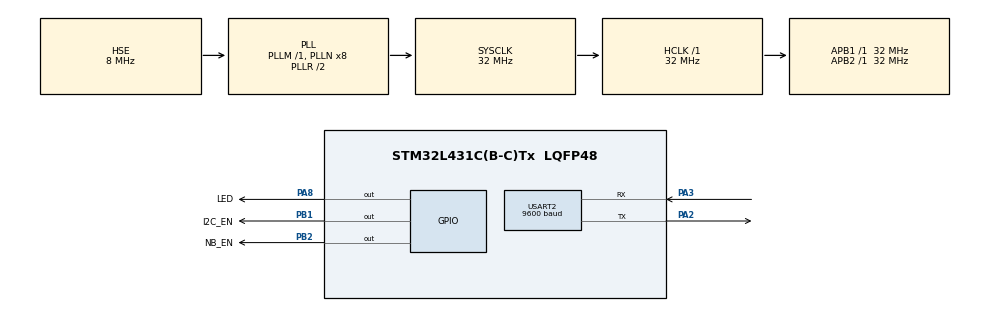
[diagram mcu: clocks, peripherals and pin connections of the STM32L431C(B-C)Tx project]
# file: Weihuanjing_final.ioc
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Dma.Request0=USART2_RX
Dma.Request1=USART2_TX
Dma.USART2_RX.0.Direction=DMA_PERIPH_TO_MEMORY
Dma.USART2_RX.0.Instance=DMA1_Channel6
Dma.USART2_RX.0.MemDataAlignment=DMA_MDATAALIGN_BYTE
Dma.USART2_RX.0.MemInc=DMA_MINC_ENABLE
Dma.USART2_RX.0.Mode=DMA_NORMAL
Dma.USART2_RX.0.PeriphDataAlignment=DMA_PDATAALIGN_BYTE
Dma.USART2_RX.0.PeriphInc=DMA_PINC_DISABLE
Dma.USART2_RX.0.Priority=DMA_PRIORITY_HIGH
Dma.USART2_TX.1.Direction=DMA_MEMORY_TO_PERIPH
Dma.USART2_TX.1.Instance=DMA1_Channel7
Dma.USART2_TX.1.MemDataAlignment=DMA_MDATAALIGN_BYTE
Dma.USART2_TX.1.MemInc=DMA_MINC_ENABLE
Dma.USART2_TX.1.Mode=DMA_NORMAL
Dma.USART2_TX.1.PeriphDataAlignment=DMA_PDATAALIGN_BYTE
Dma.USART2_TX.1.PeriphInc=DMA_PINC_DISABLE
Dma.USART2_TX.1.Priority=DMA_PRIORITY_LOW
Mcu.Family=STM32L4
Mcu.Name=STM32L431C(B-C)Tx
Mcu.Package=LQFP48
NVIC.DMA1_Channel6_IRQn=true\:0\:0\:true\:false\:true\:false\:true\:true
NVIC.DMA1_Channel7_IRQn=true\:0\:0\:true\:false\:true\:false\:true\:true
NVIC.PriorityGroup=NVIC_PRIORITYGROUP_4
NVIC.RCC_IRQn=true\:0\:0\:false\:false\:true\:true\:false\:true
NVIC.RTC_Alarm_IRQn=true\:0\:0\:false\:false\:true\:true\:true\:true
NVIC.USART2_IRQn=true\:0\:0\:true\:false\:true\:true\:true\:true
PA0.Mode=SYS_WakeUp0
PA0.Signal=SYS_WKUP1
PA13\ (JTMS-SWDIO).Mode=Serial_Wire
PA13\ (JTMS-SWDIO).Signal=SYS_JTMS-SWDIO
PA14\ (JTCK-SWCLK).Mode=Serial_Wire
PA14\ (JTCK-SWCLK).Signal=SYS_JTCK-SWCLK
PA2.Mode=Asynchronous
PA2.Signal=USART2_TX
PA3.Mode=Asynchronous
PA3.Signal=USART2_RX
PA8.GPIO_Label=LED
PA8.Signal=GPIO_Output
PB1.GPIO_Label=I2C_EN
PB1.Signal=GPIO_Output
PB2.GPIO_Label=NB_EN
PB2.Signal=GPIO_Output
PC14-OSC32_IN\ (PC14).Mode=LSE-External-Oscillator
PC14-OSC32_IN\ (PC14).Signal=RCC_OSC32_IN
PC15-OSC32_OUT\ (PC15).Mode=LSE-External-Oscillator
PC15-OSC32_OUT\ (PC15).Signal=RCC_OSC32_OUT
PH0-OSC_IN\ (PH0).Mode=HSE-External-Oscillator
PH0-OSC_IN\ (PH0).Signal=RCC_OSC_IN
PH1-OSC_OUT\ (PH1).Mode=HSE-External-Oscillator
PH1-OSC_OUT\ (PH1).Signal=RCC_OSC_OUT
ProjectManager.HeapSize=0x200
ProjectManager.StackSize=0x400
ProjectManager.TargetToolchain=MDK-ARM V5.32
RCC.ADCFreq_Value=32000000
RCC.AHBFreq_Value=32000000
RCC.APB1Freq_Value=32000000
RCC.APB1TimFreq_Value=32000000
RCC.APB2Freq_Value=32000000
RCC.APB2TimFreq_Value=32000000
RCC.CortexFreq_Value=32000000
RCC.HCLKFreq_Value=32000000
RCC.HSE_VALUE=8000000
RCC.HSI48_VALUE=48000000
RCC.HSI_VALUE=16000000
RCC.MSIClockRange=RCC_MSIRANGE_10
RCC.MSI_VALUE=32000000
RCC.PLLSourceVirtual=RCC_PLLSOURCE_HSE
RCC.RTCClockSelection=RCC_RTCCLKSOURCE_LSE
RCC.SYSCLKFreq_VALUE=32000000
RCC.SYSCLKSource=RCC_SYSCLKSOURCE_PLLCLK
RCC.VCOOutputFreq_Value=64000000
RCC.VDD_VALUE=3
RTC.Alarm-Alarm\ A=RTC_ALARM_A
RTC.AlarmMaskDateWeekDay-Alarm\ A=RTC_ALARMMASK_DATEWEEKDAY
RTC.AlarmMaskHours-Alarm\ A=RTC_ALARMMASK_HOURS
USART2.BaudRate=9600
USART2.VirtualMode-Asynchronous=VM_ASYNC
VP_RTC_VS_RTC_Activate.Mode=RTC_Enabled
VP_RTC_VS_RTC_Alarm_A_Intern.Mode=Alarm A
VP_RTC_VS_RTC_Calendar.Mode=RTC_Calendar
board=custom

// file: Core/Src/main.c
/* USER CODE BEGIN Header */
/**
  ******************************************************************************
  * @file           : main.c
  * @brief          : Main program body
  ******************************************************************************
  * @attention
  *
  * Copyright (c) 2025 STMicroelectronics.
  * All rights reserved.
  *
  * This software is licensed under terms that can be found in the LICENSE file
  * in the root directory of this software component.
  * If no LICENSE file comes with this software, it is provided AS-IS.
  *
  ******************************************************************************
  */
/* USER CODE END Header */
#include "main.h"
#include "dma.h"
#include "rtc.h"
#include "usart.h"
#include "gpio.h"

/* USER CODE BEGIN Includes */
#include "dwt_delay.h"
#include "stdio.h"
#include <string.h>
#include "i2c1_hal.h"
#include "i2c2_hal.h"
#include "i2c3_hal.h"
#include "sht3x_1.h"
#include "sht3x_2.h"
#include "sht3x_3.h"
#include "processcommand.h"
#include "rtc_alarm.h"
#include "mqtt.h"
/* USER CODE END Includes */

/* USER CODE BEGIN PTD */
etError   error;
/* USER CODE END PTD */

/* USER CODE BEGIN PD */
#ifndef RTC_ALARMSUBSECONDMASK_ALL
#define RTC_ALARMSUBSECONDMASK_ALL 0x0000000FU  // 根据实际寄存器位宽调�??
#endif

#define ALART_TIME 3600	/* S */

/* USER CODE END PD */

/* USER CODE BEGIN PV */
uint8_t dataAcquisitionFlag = 0;
char outStr[64];
uint8_t RxBuffer[40];
uint8_t CSQBuffer[18];

/* USER CODE END PV */

void SystemClock_Config(void);

int main(void)
{

  /* MCU Configuration--------------------------------------------------------*/

  /* Reset of all peripherals, Initializes the Flash interface and the Systick. */
  HAL_Init();

  /* USER CODE BEGIN Init */
  CPU_TS_TmrInit();
  /* USER CODE END Init */

  /* Configure the system clock */
  SystemClock_Config();

  /* Initialize all configured peripherals */
  MX_GPIO_Init();
  MX_DMA_Init();
  MX_RTC_Init();
  MX_USART2_UART_Init();
  /* USER CODE BEGIN 2 */
  HAL_PWREx_EnableLowPowerRunMode();
  PWR_LED();

  I2c1_Init();
  SHT3X1_Init(0x45);
  I2c2_Init();
  SHT3X2_Init(0x45);
  I2c3_Init();
  SHT3X3_Init(0x45);

  GetDataAndSend();

  /* USER CODE END 2 */

  /* Infinite loop */
  /* USER CODE BEGIN WHILE */
  while (1)
  {
    HAL_Delay(2000);
    // HAL_PWR_EnterSTANDBYMode();
    HAL_PWREx_EnterSHUTDOWNMode();
    /* USER CODE END WHILE */

  }
}

void SystemClock_Config(void)
{
  RCC_OscInitTypeDef RCC_OscInitStruct = {0};
  RCC_ClkInitTypeDef RCC_ClkInitStruct = {0};

  /** Configure the main internal regulator output voltage
  */
  if (HAL_PWREx_ControlVoltageScaling(PWR_REGULATOR_VOLTAGE_SCALE1) != HAL_OK)
  {
    Error_Handler();
  }

  /** Configure LSE Drive Capability
  */
  HAL_PWR_EnableBkUpAccess();
  __HAL_RCC_LSEDRIVE_CONFIG(RCC_LSEDRIVE_LOW);

  /** Initializes the RCC Oscillators according to the specified parameters
  * in the RCC_OscInitTypeDef structure.
  */
  RCC_OscInitStruct.OscillatorType = RCC_OSCILLATORTYPE_HSE|RCC_OSCILLATORTYPE_LSE;
  RCC_OscInitStruct.HSEState = RCC_HSE_ON;
  RCC_OscInitStruct.LSEState = RCC_LSE_ON;
  RCC_OscInitStruct.PLL.PLLState = RCC_PLL_ON;
  RCC_OscInitStruct.PLL.PLLSource = RCC_PLLSOURCE_HSE;
  RCC_OscInitStruct.PLL.PLLM = 1;
  RCC_OscInitStruct.PLL.PLLN = 8;
  RCC_OscInitStruct.PLL.PLLP = RCC_PLLP_DIV7;
  RCC_OscInitStruct.PLL.PLLQ = RCC_PLLQ_DIV2;
  RCC_OscInitStruct.PLL.PLLR = RCC_PLLR_DIV2;
  if (HAL_RCC_OscConfig(&RCC_OscInitStruct) != HAL_OK)
  {
    Error_Handler();
  }

  /** Initializes the CPU, AHB and APB buses clocks
  */
  RCC_ClkInitStruct.ClockType = RCC_CLOCKTYPE_HCLK|RCC_CLOCKTYPE_SYSCLK
                              |RCC_CLOCKTYPE_PCLK1|RCC_CLOCKTYPE_PCLK2;
  RCC_ClkInitStruct.SYSCLKSource = RCC_SYSCLKSOURCE_PLLCLK;
  RCC_ClkInitStruct.AHBCLKDivider = RCC_SYSCLK_DIV1;
  RCC_ClkInitStruct.APB1CLKDivider = RCC_HCLK_DIV1;
  RCC_ClkInitStruct.APB2CLKDivider = RCC_HCLK_DIV1;

  if (HAL_RCC_ClockConfig(&RCC_ClkInitStruct, FLASH_LATENCY_1) != HAL_OK)
  {
    Error_Handler();
  }
}

void Error_Handler(void)
{
  __disable_irq();
  while (1)
  {
  }
}
